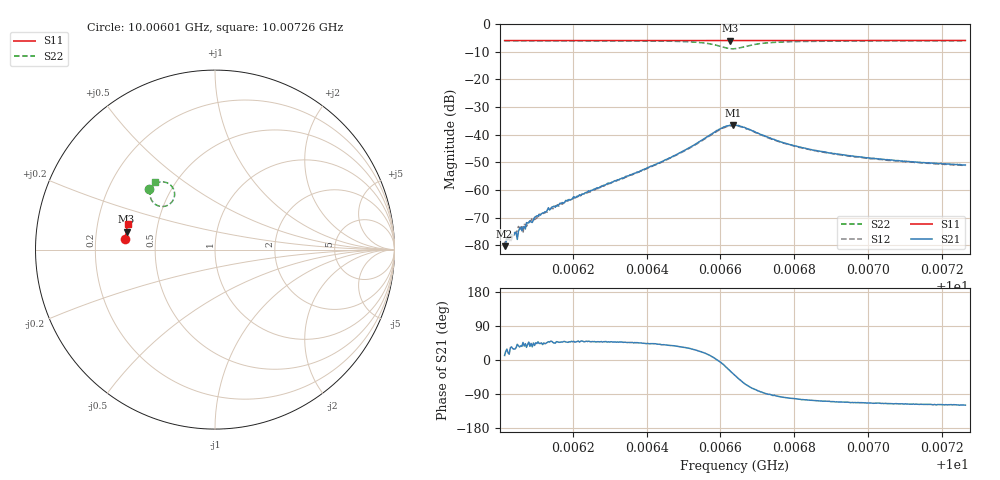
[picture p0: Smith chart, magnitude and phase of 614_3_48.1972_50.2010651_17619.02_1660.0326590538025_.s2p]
#  HZ  S  RI  R  50.00
! Rohde & Schwarz Vector Network Analyzer
! Rohde-Schwarz,ZNB20-2Port,1311601062101988,3.16
! Created: UTC 3/20/2024, 12:03:38 PM
! freq[Hz]  re:S11  im:S11  re:S21  im:S21  re:S12  im:S12  re:S22  im:S22
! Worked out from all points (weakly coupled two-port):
!   401 points, 10.00601 GHz to 10.00726 GHz, reference 50 ohm
!   highest |S21| = -36.56 dB at 10.00663 GHz (marker M1); lowest = -80.4 dB at 10.00601 GHz (marker M2)
!   lowest |S11| = -6.0 dB at 10.00663 GHz (marker M3), VSWR 3.02, Z = 16.7 + j4.49 ohm
!   |S11| at or under -10 dB: nowhere
!   |S22| runs from -8.9 to -6.0 dB; largest |S21 - S12| = 0.0011
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1.0006015e10  -0.4992 0.0614  9.4e-05 1.99e-05  0.000101 3.91e-05  -0.3673 0.3371
1.0006021e10  -0.4993 0.0619  0.000115 6.31e-05  0.000125 6.83e-05  -0.367 0.3374
1.0006037e10  -0.4991 0.063  0.000133 7.73e-05  0.000132 6.08e-05  -0.3659 0.3386
1.0006046e10  -0.4991 0.0635  0.00014 9.06e-05  0.00014 0.000101  -0.3653 0.339
1.0006055e10  -0.499 0.064  0.000163 0.000111  0.00016 0.00013  -0.3649 0.3397
1.0006058e10  -0.4989 0.0642  0.000169 0.000129  0.000131 0.000136  -0.3648 0.3399
1.0006071e10  -0.499 0.0652  0.000143 0.000134  0.000165 0.000166  -0.3638 0.3406
1.0006087e10  -0.4988 0.0662  0.000189 0.000181  0.000205 0.000187  -0.3629 0.3418
1.0006102e10  -0.4987 0.0671  0.000246 0.000233  0.00024 0.000207  -0.3619 0.3429
1.0006158e10  -0.4983 0.0709  0.000344 0.000382  0.000335 0.000425  -0.3581 0.347
1.0006224e10  -0.4977 0.0751  0.000531 0.000641  0.000492 0.000661  -0.353 0.3519
1.0006433e10  -0.4958 0.0888  0.00232 0.00204  0.00219 0.0021  -0.3242 0.3712
1.0006561e10  -0.4938 0.0973  0.00853 0.00255  0.00819 0.00288  -0.2592 0.3679
1.0006602e10  -0.493 0.0994  0.0128 -0.00159  0.0127 -0.00114  -0.226 0.3208
1.0006627e10  -0.4925 0.1005  0.0128 -0.0073  0.013 -0.00626  -0.2369 0.2696
1.0006633e10  -0.4925 0.1008  0.0121 -0.00861  0.0123 -0.00774  -0.2462 0.2589
1.0006639e10  -0.4925 0.1011  0.0112 -0.00974  0.0116 -0.00884  -0.2572 0.2502
1.0006708e10  -0.4928 0.1052  0.00107 -0.01  0.00162 -0.00978  -0.3511 0.2714
1.0006768e10  -0.4923 0.109  -0.00101 -0.00719  -0.000631 -0.00712  -0.362 0.3066
1.0006849e10  -0.4914 0.1145  -0.0015 -0.00509  -0.00124 -0.0051  -0.3584 0.3313
1.0007058e10  -0.4886 0.1279  -0.00149 -0.00318  -0.00129 -0.00316  -0.344 0.3593
1.0007264e10  -0.4856 0.1409  -0.00137 -0.00247  -0.00122 -0.00248  -0.3316 0.3743
